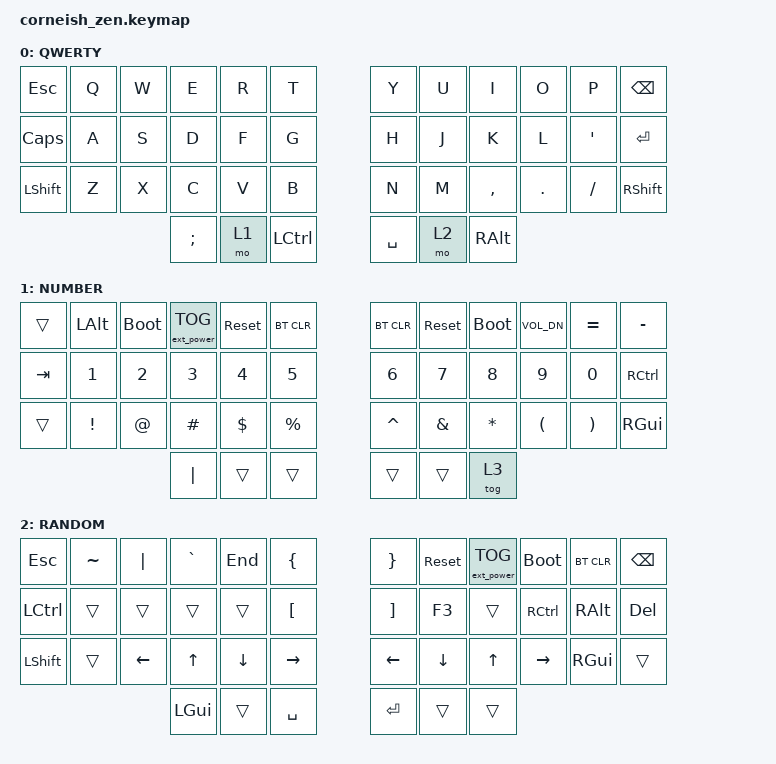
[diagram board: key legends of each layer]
#include <behaviors.dtsi>
#include <dt-bindings/zmk/keys.h>
#include <dt-bindings/zmk/bt.h>
#include <dt-bindings/zmk/ext_power.h>

/ {
  chosen {
    zmk,matrix_transform = &default_transform;
    //zmk,matrix_transform = &five_column_transform;
  };
};

/ {
        keymap {
                compatible = "zmk,keymap";

                default_layer {
                        label = "QWERTY";
// -----------------------------------------------------------------------------------------
// |  ESC |  Q  |  W  |  E  |  R  |  T  |   |  Y  |  U   |  I  |  O  |  P  | BKSP |
// | CLCK |  A  |  S  |  D  |  F  |  G  |   |  H  |  J   |  K  |  L  |  '  | RET  |
// | SHFT |  Z  |  X  |  C  |  V  |  B  |   |  N  |  M   |  ,  |  .  |  /  | SHFT |
//                    | "|" | LWR | GUI |   | SPC | RSE  | GUI |
                        bindings = <
   &kp ESC   &kp Q &kp W &kp E    &kp R &kp T         &kp Y     &kp U  &kp I     &kp O   &kp P    &kp BSPC
   &kp CLCK  &kp A &kp S &kp D    &kp F &kp G         &kp H     &kp J  &kp K     &kp L   &kp APOS &kp ENTER
   &kp LSHFT &kp Z &kp X &kp C    &kp V &kp B         &kp N     &kp M  &kp COMMA &kp DOT &kp FSLH &kp RSHFT
                         &kp SEMI &mo 1 &kp LCTRL     &kp SPACE &mo 2  &kp RALT
                        >;
                };
                lower_layer {
                        label = "NUMBER";
// -----------------------------------------------------------------------------------------
// |  ESC | ALT | PGDN | PWR | REST | BTC |   | BTC | VOLU | P/P | VOLD |  =  |   -  |
// |  TAB |  1  |  2   |  3  |  4   |  5  |   |  6  |  7   |  8  |   9  |  0  |  CTL |
// | SHFT |  !  |  @   |  #  |  $   |  %  |   |  ^  |  &   |  *  |   (  |  )  | RGUI |
//                     |  ;  | LWR  | CTL |   | SPC | RSE  | TOG |
                        bindings = <
&trans  &kp LALT &bootloader &ext_power EP_TOG &sys_reset &bt BT_CLR    &bt BT_CLR &sys_reset &bootloader &kp K_VOL_DN &kp EQUAL &kp MINUS
&kp TAB &kp N1   &kp N2    &kp N3            &kp N4    &kp N5        &kp N6     &kp N7       &kp N8   &kp N9       &kp N0    &kp RCTRL
&trans  &kp EXCL &kp AT    &kp HASH          &kp DLLR  &kp PRCNT     &kp CARET  &kp AMPS     &kp STAR &kp LPAR     &kp RPAR  &kp RGUI
                 &kp PIPE          &trans    &trans        &trans     &trans       &tog 3
                        >;
                };
                                raise_layer {
                        label = "RANDOM";
// -----------------------------------------------------------------------------------------
// |  ESC |  ~  | "|" |  `  | END |  {  |   |  }  | HOME | PWR | BACK | FWD | BKSP |
// | CTRL |     |     |     |     | "[" |   | "]" |  F3  |     |  CTL | ALT |  DEL |
// | SHFT |     |  <  |  ^  |  v  |  >  |   |  <  |  ^   |  v  |  >   |  \  | SHFT |
//                    | GUI |     | SPC |   | ENT |      | GUI |
                        bindings = <
&kp  ESC  &kp TILDE &kp PIPE &kp GRAVE &kp END   &kp LBRC      &kp RBRC   &sys_reset  &ext_power EP_TOG  &bootloader  &bt BT_CLR &kp BSPC
&kp LCTRL &trans    &trans   &trans    &trans    &kp LBKT      &kp RBKT   &kp F3    &trans             &kp RCTRL   &kp RALT      &kp DEL
&kp LSHFT &trans    &kp LEFT &kp UP    &kp DOWN  &kp RIGHT     &kp LEFT   &kp DOWN  &kp UP             &kp RIGHT   &kp RGUI      &trans
                    &kp LGUI  &trans    &kp SPACE     &kp RET    &trans    &trans
                        >;
                };
        };
};
